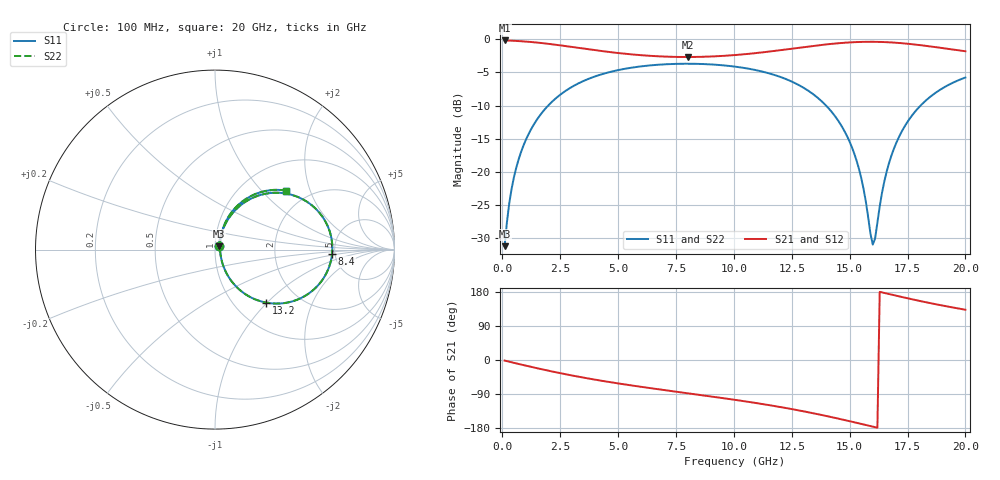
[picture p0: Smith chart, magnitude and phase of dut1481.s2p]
! Touchstone file exported from HFSS 2026.1.0
!  File:  C:/ffzhzh/LocalFiles/Ansys_Project_Files/temp_train_TSV_RDL_1481_1783363114_46376.aedt
!  Generated:  02:48:35 AM Jul  7, 2026
!  Design:  TSV_RDL
!  Project:  temp_train_TSV_RDL_1481_1783363114_46376
! Variables:
!  h_bsmrdl = 2.68um
!  h_ox = 20um
!  h_rdl = 5um
!  h_sub = 62.68um
!  h_tmrdl = 3.62um
!  h_tsv = 62.68um
!  h_via = 3um
!  l_bsmrdl = 111.49um
!  l_sub = 3850.54um
!  l_tmrdl = 753.63um
!  m_sub = 200um
!  pitch = 59.01um
!  r_tsv = 8.92um
!  s_tmrdl = 10um
!  w_bsmrdl = 16.86um
!  w_sub = 500um
!  w_tmrdl = 16.99um
!  x_tsv_center1 = 762.125um
!  x_tsv_center2 = 890.475um
!  x_tsv_center3 = 1661.095um
!  x_tsv_center4 = 1789.445um
!  x_tsv_center5 = 2560.065um
!  x_tsv_center6 = 2688.415um
# GHz S MA R 50.000000
! Terminal data exported
! Port[1] = TM_RDL1_1_T1
! Port[2] = TM_RDL5_1_T1
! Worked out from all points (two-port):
!   200 points, 100 MHz to 20 GHz, reference 50 ohm
!   highest |S21| = -0.18 dB at 100 MHz (marker M1); lowest = -2.7 dB at 8 GHz (marker M2)
!   |S21| within 3 dB of the highest: start of sweep to end of sweep
!   lowest |S11| = -31.2 dB at 100 MHz (marker M3), VSWR 1.06, Z = 52.1 + j1.84 ohm
!   |S11| at or under -10 dB: start of sweep to 1.979 GHz; 13.99 GHz to 18.06 GHz (4.075 GHz wide, 25.4 % of centre)
!   |S22| runs from -31.2 to -3.7 dB; largest |S21 - S12| = 1.7e-14
!   S11 on the Smith chart (normalised r, x): 100 MHz: 1.04, +0.04; 8.4 GHz: 4.72, -0.40; 13.2 GHz: 1.39, -0.99; 20 GHz: 1.56, +1.39
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0.1  0.02768 39.5  0.979 -1.5  0.979 -1.5  0.02768 39.5
! Gamma 0 0 0 0
! Port Impedance 50 0 50 0
0.3  0.05802 63.3  0.9767 -4.5  0.9767 -4.5  0.05802 63.3
0.5  0.09098 67.9  0.9731 -7.5  0.9731 -7.5  0.09098 67.9
1.1  0.1878 66.5  0.9579 -16.1  0.9579 -16.1  0.1878 66.5
2.1  0.3323 56.1  0.9186 -29.6  0.9186 -29.6  0.3323 56.1
3.5  0.4844 40.7  0.8507 -46.4  0.8507 -46.4  0.4844 40.7
6.8  0.6439 10.7  0.743 -77.7  0.743 -77.7  0.6439 10.7
8  0.6539 1.1  0.7348 -87.7  0.7348 -87.7  0.654 1.1
8.4  0.6527 -2.1  0.7359 -91.0  0.7359 -91.0  0.6527 -2.1
10.1  0.6204 -16.1  0.7614 -105.6  0.7614 -105.6  0.6204 -16.1
13.2  0.4112 -46.0  0.8801 -137.7  0.8801 -137.7  0.4112 -46.0
13.4  0.3888 -48.1  0.8891 -140.1  0.8891 -140.1  0.3888 -48.1
14.4  0.2591 -58.7  0.9292 -153.1  0.9292 -153.1  0.2592 -58.8
15.1  0.1536 -63.9  0.9485 -162.9  0.9485 -162.9  0.1536 -64.0
15.6  0.07501 -59.3  0.9555 -170.1  0.9555 -170.1  0.07494 -59.6
16  0.02846 -2.7  0.9566 -175.8  0.9566 -175.8  0.02806 -3.0
16.1  0.03157 27.6  0.9562 -177.3  0.9562 -177.3  0.03116 27.9
16.4  0.06987 63.3  0.9534 178.4  0.9534 178.4  0.06962 63.6
16.7  0.1166 68.9  0.9483 174.1  0.9483 174.1  0.1164 69.2
17.2  0.1942 67.7  0.9351 167.0  0.9351 167.0  0.1941 67.9
17.9  0.295 61.4  0.909 157.5  0.909 157.5  0.2948 61.5
20  0.515 39.6  0.8119 132.7  0.8119 132.7  0.5149 39.7
